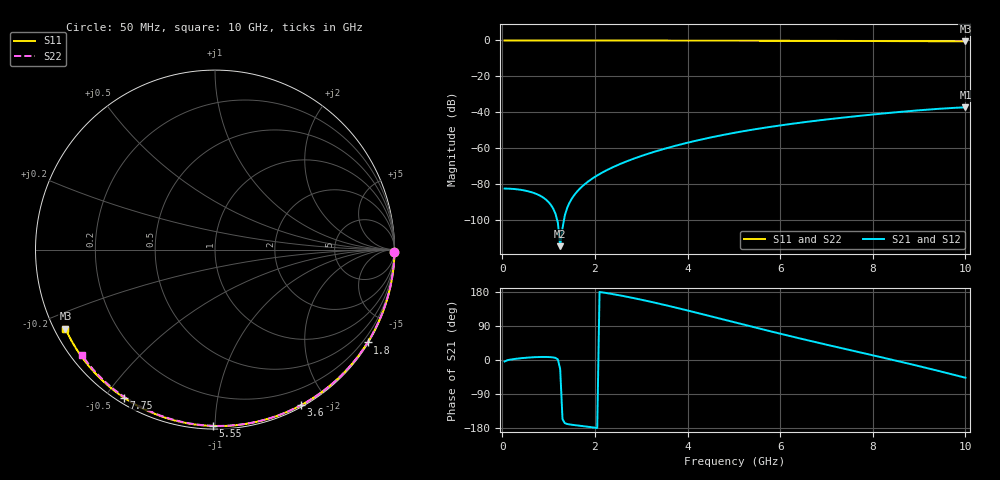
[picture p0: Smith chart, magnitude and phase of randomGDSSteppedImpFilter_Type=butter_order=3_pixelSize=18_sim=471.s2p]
! freq	dB(S11)	phase(S11)	dB(S12)	phase(S12)
!  dB(S21)	phase(S21)	dB(S22)	phase(S22)
!S-par simulation data
#  GHz  S  DB  R 50
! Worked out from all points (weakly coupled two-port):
!   200 points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, 50 MHz to 10 GHz, reference 50 ohm
!   highest |S21| = -37.26 dB at 10 GHz (marker M1); lowest = -114.7 dB at 1.25 GHz (marker M2)
!   lowest |S11| = -0.5 dB at 10 GHz (marker M3), VSWR 33.78, Z = 1.57 - j12.4 ohm
!   |S11| at or under -10 dB: nowhere
!   |S22| runs from -0.5 to 0.0 dB; largest |S21 - S12| = 0
!   S11 on the Smith chart (normalised r, x): 50 MHz: open; 1.8 GHz: 0.03, -3.57; 3.6 GHz: 0.02, -1.70; 5.55 GHz: 0.02, -0.99; 7.75 GHz: 0.02, -0.56; 10 GHz: 0.03, -0.25
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0.05  -0.00 -0.9  -82.58 -4.0  -82.58 -4.0  -0.00 -0.8
0.65  -0.01 -11.5  -84.76 7.1  -84.76 7.1  -0.01 -10.6
1.25  -0.03 -21.9  -114.70 -24.0  -114.70 -24.0  -0.03 -20.2
1.75  -0.04 -30.5  -80.81 -174.6  -80.81 -174.6  -0.04 -28.1
1.8  -0.04 -31.3  -79.72 -175.3  -79.72 -175.3  -0.04 -28.9
1.95  -0.04 -33.9  -76.89 -177.7  -76.89 -177.7  -0.04 -31.3
2.1  -0.05 -36.4  -74.49 179.6  -74.49 179.6  -0.04 -33.6
2.25  -0.05 -38.9  -72.40 176.7  -72.40 176.7  -0.05 -35.9
2.45  -0.06 -42.3  -69.94 172.5  -69.94 172.5  -0.05 -39.0
2.9  -0.07 -49.7  -65.33 161.7  -65.33 161.7  -0.06 -45.9
3.4  -0.08 -57.8  -61.16 148.3  -61.16 148.3  -0.07 -53.5
3.6  -0.08 -61.0  -59.69 142.5  -59.69 142.5  -0.08 -56.4
4.3  -0.10 -72.0  -55.20 121.6  -55.20 121.6  -0.09 -66.6
5.05  -0.13 -83.3  -51.31 98.4  -51.31 98.4  -0.12 -77.3
5.55  -0.15 -90.7  -49.12 83.0  -49.12 83.0  -0.14 -84.2
6.1  -0.18 -98.6  -47.01 66.5  -47.01 66.5  -0.16 -91.6
6.7  -0.21 -107.1  -44.98 49.0  -44.98 49.0  -0.19 -99.5
7.2  -0.24 -114.1  -43.47 34.8  -43.47 34.8  -0.22 -106.0
7.75  -0.28 -121.7  -41.93 19.4  -41.93 19.4  -0.26 -113.1
8.35  -0.33 -129.8  -40.40 2.6  -40.40 2.6  -0.31 -120.7
9.2  -0.42 -141.3  -38.53 -22.2  -38.53 -22.2  -0.39 -131.4
10  -0.51 -152.1  -37.26 -46.8  -37.26 -46.8  -0.48 -141.7
